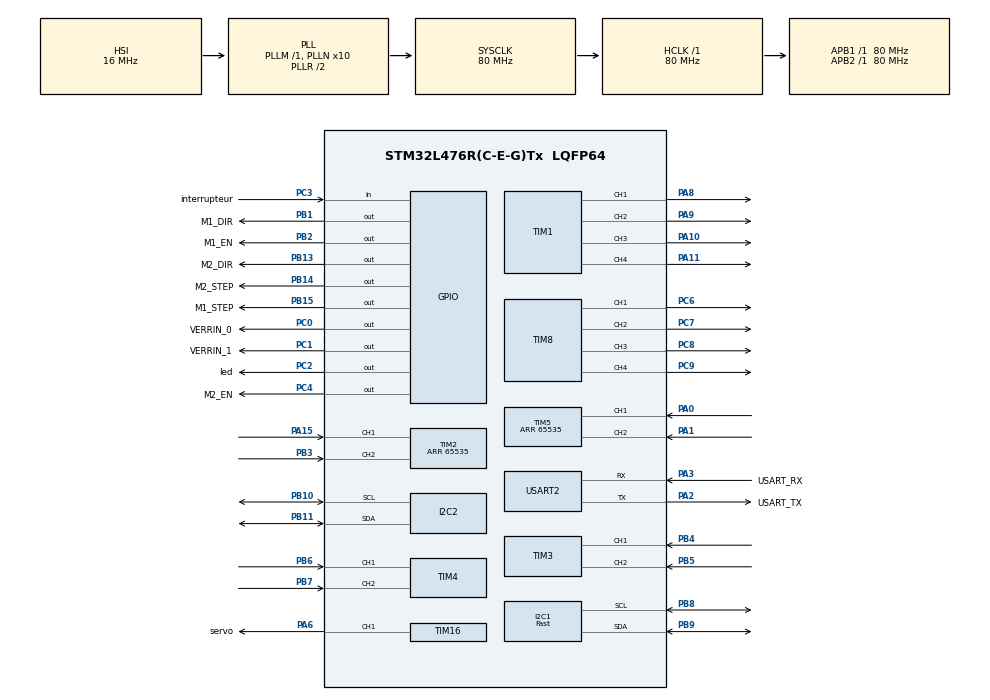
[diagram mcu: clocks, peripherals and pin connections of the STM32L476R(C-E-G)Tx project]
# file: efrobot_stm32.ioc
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I2C1.I2C_Speed_Mode=I2C_Fast
I2C1.Timing=0x00F12981
I2C2.Timing=0x10D19CE4
Mcu.Family=STM32L4
Mcu.Name=STM32L476R(C-E-G)Tx
Mcu.Package=LQFP64
NVIC.PriorityGroup=NVIC_PRIORITYGROUP_4
NVIC.TIM6_DAC_IRQn=true\:0\:0\:false\:false\:true\:true\:true\:true
NVIC.USART2_IRQn=true\:0\:0\:false\:false\:true\:true\:true\:true
PA0.Signal=S_TIM5_CH1
PA1.Signal=S_TIM5_CH2
PA10.GPIO_Speed=GPIO_SPEED_FREQ_VERY_HIGH
PA10.Signal=S_TIM1_CH3
PA11.GPIO_Speed=GPIO_SPEED_FREQ_VERY_HIGH
PA11.Signal=S_TIM1_CH4
PA13\ (JTMS-SWDIO).GPIO_Label=TMS
PA13\ (JTMS-SWDIO).Mode=Serial_Wire
PA13\ (JTMS-SWDIO).Signal=SYS_JTMS-SWDIO
PA14\ (JTCK-SWCLK).GPIO_Label=TCK
PA14\ (JTCK-SWCLK).Mode=Serial_Wire
PA14\ (JTCK-SWCLK).Signal=SYS_JTCK-SWCLK
PA15\ (JTDI).Signal=S_TIM2_CH1
PA2.GPIO_Label=USART_TX
PA2.GPIO_Mode=GPIO_MODE_AF_PP
PA2.GPIO_PuPd=GPIO_NOPULL
PA2.GPIO_Speed=GPIO_SPEED_FREQ_VERY_HIGH
PA2.Mode=Asynchronous
PA2.Signal=USART2_TX
PA3.GPIO_Label=USART_RX
PA3.GPIO_Mode=GPIO_MODE_AF_PP
PA3.GPIO_PuPd=GPIO_NOPULL
PA3.GPIO_Speed=GPIO_SPEED_FREQ_VERY_HIGH
PA3.Mode=Asynchronous
PA3.Signal=USART2_RX
PA6.GPIO_Label=servo
PA6.GPIO_Speed=GPIO_SPEED_FREQ_VERY_HIGH
PA6.Signal=S_TIM16_CH1
PA8.GPIO_Speed=GPIO_SPEED_FREQ_VERY_HIGH
PA8.Signal=S_TIM1_CH1
PA9.GPIO_Speed=GPIO_SPEED_FREQ_VERY_HIGH
PA9.Signal=S_TIM1_CH2
PB1.GPIO_Label=M1_DIR
PB1.GPIO_Speed=GPIO_SPEED_FREQ_LOW
PB1.Signal=GPIO_Output
PB10.Mode=I2C
PB10.Signal=I2C2_SCL
PB11.Mode=I2C
PB11.Signal=I2C2_SDA
PB13.GPIO_Label=M2_DIR
PB13.GPIO_Speed=GPIO_SPEED_FREQ_LOW
PB13.Signal=GPIO_Output
PB14.GPIO_Label=M2_STEP
PB14.GPIO_Speed=GPIO_SPEED_FREQ_VERY_HIGH
PB14.PinState=GPIO_PIN_SET
PB14.Signal=GPIO_Output
PB15.GPIO_Label=M1_STEP
PB15.GPIO_Speed=GPIO_SPEED_FREQ_VERY_HIGH
PB15.PinState=GPIO_PIN_SET
PB15.Signal=GPIO_Output
PB2.GPIO_Label=M1_EN
PB2.Signal=GPIO_Output
PB3\ (JTDO-TRACESWO).Signal=S_TIM2_CH2
PB4\ (NJTRST).Signal=S_TIM3_CH1
PB5.Signal=S_TIM3_CH2
PB6.Signal=S_TIM4_CH1
PB7.Signal=S_TIM4_CH2
PB8.Mode=I2C
PB8.Signal=I2C1_SCL
PB9.Mode=I2C
PB9.Signal=I2C1_SDA
PC0.GPIO_Label=VERRIN_0
PC0.Signal=GPIO_Output
PC1.GPIO_Label=VERRIN_1
PC1.Signal=GPIO_Output
PC14-OSC32_IN\ (PC14).Mode=LSE-External-Oscillator
PC14-OSC32_IN\ (PC14).Signal=RCC_OSC32_IN
PC15-OSC32_OUT\ (PC15).Mode=LSE-External-Oscillator
PC15-OSC32_OUT\ (PC15).Signal=RCC_OSC32_OUT
PC2.GPIO_Label=led
PC2.Signal=GPIO_Output
PC3.GPIO_Label=interrupteur
PC3.GPIO_PuPd=GPIO_PULLUP
PC3.Signal=GPIO_Input
PC4.GPIO_Label=M2_EN
PC4.Signal=GPIO_Output
PC6.GPIO_Speed=GPIO_SPEED_FREQ_VERY_HIGH
PC6.Signal=S_TIM8_CH1
PC7.GPIO_Speed=GPIO_SPEED_FREQ_VERY_HIGH
PC7.Signal=S_TIM8_CH2
PC8.GPIO_Speed=GPIO_SPEED_FREQ_VERY_HIGH
PC8.Signal=S_TIM8_CH3
PC9.GPIO_Speed=GPIO_SPEED_FREQ_VERY_HIGH
PC9.Signal=S_TIM8_CH4
PH0-OSC_IN\ (PH0).Signal=RCC_OSC_IN
PH1-OSC_OUT\ (PH1).Signal=RCC_OSC_OUT
ProjectManager.HeapSize=0x200
ProjectManager.StackSize=0x400
ProjectManager.TargetToolchain=STM32CubeIDE
RCC.ADCFreq_Value=64000000
RCC.AHBFreq_Value=80000000
RCC.APB1Freq_Value=80000000
RCC.APB1TimFreq_Value=80000000
RCC.APB2Freq_Value=80000000
RCC.APB2TimFreq_Value=80000000
RCC.CortexFreq_Value=80000000
RCC.HCLKFreq_Value=80000000
RCC.HSE_VALUE=8000000
RCC.HSI_VALUE=16000000
RCC.MSI_VALUE=4000000
RCC.PLLN=10
RCC.PLLSourceVirtual=RCC_PLLSOURCE_HSI
RCC.PREFETCH_ENABLE=1
RCC.SYSCLKFreq_VALUE=80000000
RCC.SYSCLKSource=RCC_SYSCLKSOURCE_PLLCLK
RCC.USBFreq_Value=64000000
RCC.VCOOutputFreq_Value=160000000
SH.S_TIM16_CH1.0=TIM16_CH1,PWM Generation1 CH1
SH.S_TIM1_CH1.0=TIM1_CH1,PWM Generation1 CH1
SH.S_TIM1_CH2.0=TIM1_CH2,PWM Generation2 CH2
SH.S_TIM1_CH3.0=TIM1_CH3,PWM Generation3 CH3
SH.S_TIM1_CH4.0=TIM1_CH4,PWM Generation4 CH4
SH.S_TIM2_CH1.0=TIM2_CH1,Encoder_Interface
SH.S_TIM2_CH2.0=TIM2_CH2,Encoder_Interface
SH.S_TIM3_CH1.0=TIM3_CH1,Encoder_Interface
SH.S_TIM3_CH2.0=TIM3_CH2,Encoder_Interface
SH.S_TIM4_CH1.0=TIM4_CH1,Encoder_Interface
SH.S_TIM4_CH2.0=TIM4_CH2,Encoder_Interface
SH.S_TIM5_CH1.0=TIM5_CH1,Encoder_Interface
SH.S_TIM5_CH2.0=TIM5_CH2,Encoder_Interface
SH.S_TIM8_CH1.0=TIM8_CH1,PWM Generation1 CH1
SH.S_TIM8_CH2.0=TIM8_CH2,PWM Generation2 CH2
SH.S_TIM8_CH3.0=TIM8_CH3,PWM Generation3 CH3
SH.S_TIM8_CH4.0=TIM8_CH4,PWM Generation4 CH4
TIM1.AutoReloadPreload=TIM_AUTORELOAD_PRELOAD_ENABLE
TIM1.Channel-PWM\ Generation1\ CH1=TIM_CHANNEL_1
TIM1.Channel-PWM\ Generation2\ CH2=TIM_CHANNEL_2
TIM1.Channel-PWM\ Generation3\ CH3=TIM_CHANNEL_3
TIM1.Channel-PWM\ Generation4\ CH4=TIM_CHANNEL_4
TIM16.AutoReloadPreload=TIM_AUTORELOAD_PRELOAD_ENABLE
TIM16.Channel=TIM_CHANNEL_1
TIM16.Period=19999
TIM16.Prescaler=79
TIM2.EncoderMode=TIM_ENCODERMODE_TI12
TIM2.Period=65535
TIM3.EncoderMode=TIM_ENCODERMODE_TI12
TIM4.EncoderMode=TIM_ENCODERMODE_TI12
TIM5.EncoderMode=TIM_ENCODERMODE_TI12
TIM5.Period=65535 
TIM6.Period=49
TIM6.Prescaler=79
TIM8.AutoReloadPreload=TIM_AUTORELOAD_PRELOAD_ENABLE
TIM8.Channel-PWM\ Generation1\ CH1=TIM_CHANNEL_1
TIM8.Channel-PWM\ Generation2\ CH2=TIM_CHANNEL_2
TIM8.Channel-PWM\ Generation3\ CH3=TIM_CHANNEL_3
TIM8.Channel-PWM\ Generation4\ CH4=TIM_CHANNEL_4
USART2.VirtualMode-Asynchronous=VM_ASYNC
VP_IWDG_VS_IWDG.Mode=IWDG_Activate
VP_TIM16_VS_ClockSourceINT.Mode=Enable_Timer
VP_TIM6_VS_ClockSourceINT.Mode=Enable_Timer
board=NUCLEO-L476RG

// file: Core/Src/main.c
/* USER CODE BEGIN Header */
/**
  ******************************************************************************
  * @file           : main.c
  * @brief          : Main program body
  ******************************************************************************
  * @attention
  *
  * Copyright (c) 2026 STMicroelectronics.
  * All rights reserved.
  *
  * This software is licensed under terms that can be found in the LICENSE file
  * in the root directory of this software component.
  * If no LICENSE file comes with this software, it is provided AS-IS.
  *
  ******************************************************************************
  */
/* USER CODE END Header */
#include "main.h"

/* USER CODE BEGIN Includes */

// Lib
#include <stdio.h>
#include <stdlib.h>
#include <math.h>
#include <string.h>

// Header
#include "motor.h"
#include "imu.h"
#include "pince.h"
#include "trajectory.h"

/* USER CODE END Includes */

I2C_HandleTypeDef hi2c1;
I2C_HandleTypeDef hi2c2;

IWDG_HandleTypeDef hiwdg;

TIM_HandleTypeDef htim1;
TIM_HandleTypeDef htim2;
TIM_HandleTypeDef htim3;
TIM_HandleTypeDef htim4;
TIM_HandleTypeDef htim5;
TIM_HandleTypeDef htim6;
TIM_HandleTypeDef htim8;
TIM_HandleTypeDef htim16;

UART_HandleTypeDef huart2;

/* USER CODE BEGIN PV */
#define UART_BUF_SIZE 64
#define POS_INTERVAL 500  // ms

uint8_t rx_byte;
volatile uint8_t commande_recue = 0;
volatile uint8_t stop_mouvement = 0;
int32_t encoder1, encoder2, encoder3, encoder4;

// coms
static char uart_buf[UART_BUF_SIZE];
static uint8_t uart_idx = 0;
uint32_t lastPosUpdate = 0;

/* USER CODE END PV */

void SystemClock_Config(void);
static void MX_GPIO_Init(void);
static void MX_I2C1_Init(void);
static void MX_TIM1_Init(void);
static void MX_TIM2_Init(void);
static void MX_TIM3_Init(void);
static void MX_TIM4_Init(void);
static void MX_TIM5_Init(void);
static void MX_TIM8_Init(void);
static void MX_TIM16_Init(void);
static void MX_USART2_UART_Init(void);
static void MX_IWDG_Init(void);
static void MX_I2C2_Init(void);
static void MX_TIM6_Init(void);

/* USER CODE BEGIN 0 */

void safe_delay(uint32_t ms) {
    uint32_t start = HAL_GetTick();
    while ((HAL_GetTick() - start) < ms) {
        HAL_IWDG_Refresh(&hiwdg);
        HAL_Delay(10);
    }
}
// Team 0 --> Jaune
// Team 1 --> Bleu
void Position_robot_init(Robot_Pos *p, int team) {
    char buf[64];
    int len = snprintf(buf, sizeof(buf), "[DBG] Position_robot_init team=%d\r\n", team);
    HAL_UART_Transmit(&huart2, (uint8_t*)buf, len, 10);  // ← trace qui appelle ça
    imu_reset(&hi2c1);
    safe_delay(650);
    imu_init(&hi2c1, &hiwdg);
    safe_delay(100);
    if (team == 0) {
        p->x = 16;
        p->y = 184.0;
        p->angle = 0;
    } else if (team == 1) {
        p->x = 284;
        p->y = 184;
        p->angle = 0;
    }
}

void set_position(float new_x, float new_y, float new_angle) {
	robot_pos.x = new_x;
	robot_pos.y = new_y;
	robot_pos.angle = new_angle;
}

// ---------------------------------------------------
// Coms with raspy

void envoyer_position(void) {
    char buf[64];
    int16_t heading = imu_get_heading(&hi2c1);
    int len = snprintf(buf, sizeof(buf), "POS %.3f %.3f %d\r\n",
                       robot_pos.x, robot_pos.y, heading);
    HAL_UART_Transmit(&huart2, (uint8_t*)buf, len, 10);
}

void mouvement_termine(void) {
    char buf[64];
    int len = snprintf(buf, sizeof(buf), "Mouv Ok\r\n");
    HAL_UART_Transmit(&huart2, (uint8_t*)buf, len, 10);
}

void traiter_commande(char *cmd) {
    // Trim '\r' éventuel
	stop_mouvement = 0;
    int len = strlen(cmd);
    while (len > 0 && (cmd[len-1] == '\r' || cmd[len-1] == '\n' || cmd[len-1] == ' '))
        cmd[--len] = '\0';

    char log[80];
    int l = snprintf(log, sizeof(log), "[STM32] CMD recue: [%s]\r\n", cmd);
    HAL_UART_Transmit(&huart2, (uint8_t*)log, l, 10);

    float param1 = 0, param2 = 0;
    int recup = 0;

    if (strncmp(cmd, "AC ", 3) == 0) {
        sscanf(cmd + 3, "%f %f", &param1, &param2);
        aller_a_coord(param1, param2);
        mouvement_termine();

    } else if (strncmp(cmd, "TVA ", 4) == 0) {
        param1 = atoff(cmd + 4);
        tourner_vers_angle(param1);
        mouvement_termine();

    //------------------------------------------------
    // Team option
    } else if (strncmp(cmd, "TJ", 2) == 0) {
        Position_robot_init(&robot_pos, 0);

    } else if (strncmp(cmd, "TB", 2) == 0) {
        Position_robot_init(&robot_pos, 1);

	//-----------------------------------------------------
	// Pince Option
    } else if (strncmp(cmd, "Pince_RecupererEtStocker", 24) == 0) {
		sscanf(cmd + 24, "%d", &recup);
		Pince_RecupererEtStocker(recup);
		mouvement_termine();

    } else if (strncmp(cmd, "Pince Navigation", 16) == 0) {
    	Pince_GoToNav(); // a remetre pour le mode nav
    	mouvement_termine();

    } else if (strncmp(cmd, "Pince Curseur", 13) == 0) {
    	Pince_Pos_Curseur(); // thermomètre de samuel
    	mouvement_termine();

    } else if (strncmp(cmd, "RAH ", 4) == 0) {
        param1 = atoff(cmd + 4);
        rotation_gauche(param1);
        mouvement_termine();

    } else if (strncmp(cmd, "RH ", 3) == 0) {
        param1 = atoff(cmd + 3);
        rotation_droite(param1);
        mouvement_termine();

    } else if (strncmp(cmd, "DG ", 3) == 0) {
        param1 = atoff(cmd + 3);
        param1 = param1 / 100.0;
        diagonale_gauche(param1);
        mouvement_termine();

    } else if (strncmp(cmd, "DD ", 3) == 0) {
        param1 = atoff(cmd + 3);
        param1 = param1 / 100.0;
        diagonale_droite(param1);
        mouvement_termine();

    } else if (strncmp(cmd, "A ", 2) == 0) {
        param1 = atoff(cmd + 2);
        param1 = param1 / 100.0;
        avancer(param1);
        mouvement_termine();

    } else if (strncmp(cmd, "R ", 2) == 0) {
        param1 = atoff(cmd + 2);
        param1 = param1 / 100.0;
        reculer(param1);
        mouvement_termine();

    } else if (strncmp(cmd, "D ", 2) == 0) {
        param1 = atoff(cmd + 2);
        param1 = param1 / 100.0;
        droite(param1);
        mouvement_termine();

    } else if (strncmp(cmd, "G ", 2) == 0) {
        param1 = atoff(cmd + 2);
        param1 = param1 / 100.0;
        gauche(param1);
        mouvement_termine();
    }

    envoyer_position();
}

void HAL_UART_RxCpltCallback(UART_HandleTypeDef *huart)
{
    if (huart->Instance == USART2)
    {
        if (rx_byte == '\n')
        {
            uart_buf[uart_idx] = '\0';
            uart_idx = 0;

            // STOP prioritaire — traité directement dans l'interruption
            if (strncmp((char*)uart_buf, "STOP", 4) == 0) {
                stop_mouvement = 1;
                stop_motors();
            } else {
                commande_recue = 1;
            }
        }
        else if (rx_byte != '\r' && uart_idx < UART_BUF_SIZE - 1)
        {
            uart_buf[uart_idx++] = (char)rx_byte;
        }

        HAL_UART_Receive_IT(&huart2, &rx_byte, 1);
    }
}
void uart_poll(void)
{
    if (__HAL_UART_GET_FLAG(&huart2, UART_FLAG_ORE))
    {
        __HAL_UART_CLEAR_OREFLAG(&huart2);
    }

    if (commande_recue)
    {
        traiter_commande(uart_buf);

        uart_idx = 0;
        commande_recue = 0;
    }
}

/* USER CODE END 0 */

int main(void)
{

  /* MCU Configuration--------------------------------------------------------*/

  /* Reset of all peripherals, Initializes the Flash interface and the Systick. */
  HAL_Init();

  /* Configure the system clock */
  SystemClock_Config();

  /* Initialize all configured peripherals */
  MX_GPIO_Init();
  MX_I2C1_Init();
  MX_TIM1_Init();
  MX_TIM2_Init();
  MX_TIM3_Init();
  MX_TIM4_Init();
  MX_TIM5_Init();
  MX_TIM8_Init();
  MX_TIM16_Init();
  MX_USART2_UART_Init();
  MX_IWDG_Init();
  MX_I2C2_Init();
  MX_TIM6_Init();
  /* USER CODE BEGIN 2 */

  //-------------------------------------------------------------
  // Timer 1
  HAL_TIM_PWM_Start(&htim1, TIM_CHANNEL_1); // motor 1 In1
  HAL_TIM_PWM_Start(&htim1, TIM_CHANNEL_2); // motor 1 In2
  __HAL_TIM_MOE_ENABLE(&htim1);

  HAL_TIM_PWM_Start(&htim1, TIM_CHANNEL_3); // motor 2 In1
  HAL_TIM_PWM_Start(&htim1, TIM_CHANNEL_4); // motor 2 In2
  __HAL_TIM_MOE_ENABLE(&htim1);

  // Timer 2 & 3 & 4 & 5 --> encodeur
  HAL_TIM_Encoder_Start(&htim2, TIM_CHANNEL_ALL);
  HAL_TIM_Encoder_Start(&htim3, TIM_CHANNEL_ALL);
  HAL_TIM_Encoder_Start(&htim4, TIM_CHANNEL_ALL);
  HAL_TIM_Encoder_Start(&htim5, TIM_CHANNEL_ALL);

  // Timer 8
  HAL_TIM_PWM_Start(&htim8, TIM_CHANNEL_1); // motor 3 In1
  HAL_TIM_PWM_Start(&htim8, TIM_CHANNEL_2); // motor 3 In2
  __HAL_TIM_MOE_ENABLE(&htim8);

  HAL_TIM_PWM_Start(&htim8, TIM_CHANNEL_3); // motor 4 In1
  HAL_TIM_PWM_Start(&htim8, TIM_CHANNEL_4); // motor 4 In2
  __HAL_TIM_MOE_ENABLE(&htim8);

  // Timer 16 (Servo)
  //HAL_TIM_PWM_Start(&htim16, TIM_CHANNEL_1);

  //-------------------------------------------------------------

  Pince_Init();
  HAL_TIM_Base_Start_IT(&htim6);

  //-------------------------------------------------------------
  // PIDS init

  PID_Vitesse_Init(&pid1, 60000.0, 37000.0, 0.0); // ok
  PID_Vitesse_Init(&pid2, 60000.0, 28000.0, 0.0); // ok
  PID_Vitesse_Init(&pid3, 60000.0, 25000.0, 0.0); // ok
  PID_Vitesse_Init(&pid4, 57000.0, 25000.0, 0.0); // ok

  //test_PID_5s(2.0);

  //-------------------------------------------------------------
  // Robot Position Init
  Position_robot_init(&robot_pos, 0);

  //-------------------------------------------------------------
  // Uart Init
  HAL_UART_Receive_IT(&huart2, &rx_byte, 1);

  if (__HAL_RCC_GET_FLAG(RCC_FLAG_IWDGRST)) {
      __HAL_RCC_CLEAR_RESET_FLAGS();
      char msg[] = "[DBG] REBOOT PAR WATCHDOG\r\n";
      HAL_UART_Transmit(&huart2, (uint8_t*)msg, sizeof(msg)-1, 100);
  }

  //-------------------------------------------------------------
  // IMU init

  // Debug IMU addr
  char buf[128];
  for (uint8_t addr = 1; addr < 128; addr++) {
	  HAL_IWDG_Refresh(&hiwdg);
      if (HAL_I2C_IsDeviceReady(&hi2c1, addr << 1, 2, 50) == HAL_OK) {
    	  int len = snprintf(buf, sizeof(buf),
    			  "Device trouve a 0x%02X\r\n", addr);
    	  HAL_UART_Transmit(&huart2, (uint8_t*)buf, len, HAL_MAX_DELAY);
      }
  }

  // Init imu
  imu_init(&hi2c1, &hiwdg);

  //-------------------------------------------------------------
  // Pince
  //Pince_GoToNav();

  // Test Pince
  //Servo_SetAngle(5);
  //safe_delay(2000);
  //Servo_SetAngle(100);

  //safe_delay(1000);
  //safe_delay(1000);
  //safe_delay(1000);

  /*
   safe_delay(1000);
  reculer(1);

  safe_delay(1000);
  droite(1);

  safe_delay(1000);
  gauche(1);*/

  //set_motor_pwm(&htim1, TIM_CHANNEL_1, TIM_CHANNEL_2, 50000); --> avance
  //set_motor_pwm(&htim1, TIM_CHANNEL_1, TIM_CHANNEL_2, -50000); --> ne bouge pas
  //set_motor_pwm(&htim1, TIM_CHANNEL_2, TIM_CHANNEL_1, 50000); --> ne bouge pas
  //set_motor_pwm(&htim1, TIM_CHANNEL_2, TIM_CHANNEL_1, -50000); --> recule

  /*set_motor_pwm(&htim1, TIM_CHANNEL_1, TIM_CHANNEL_2, 50000);
  set_motor_pwm(&htim1, TIM_CHANNEL_3, TIM_CHANNEL_4, 50000);
  set_motor_pwm(&htim8, TIM_CHANNEL_1, TIM_CHANNEL_2, 50000);
  set_motor_pwm(&htim8, TIM_CHANNEL_3, TIM_CHANNEL_4, 50000);

  safe_delay(5000);
  stop_motors();

  set_motor_pwm(&htim1, TIM_CHANNEL_1, TIM_CHANNEL_2, -50000);
  set_motor_pwm(&htim1, TIM_CHANNEL_3, TIM_CHANNEL_4, -50000);
  set_motor_pwm(&htim8, TIM_CHANNEL_1, TIM_CHANNEL_2, -50000);
  set_motor_pwm(&htim8, TIM_CHANNEL_3, TIM_CHANNEL_4, -50000);*/

  //safe_delay(1000);
  //reculer(1);
  //safe_delay(1000);

  //reculer(0.3);

  //envoyer_position();
  //safe_delay(1000);

  safe_delay(1000);

  safe_delay(1000);
  safe_delay(1000);
  /*Trajectory traj;
  traj_init(&traj);

  traj_avancer(&traj, 0.50f);
  traj_gauche(&traj,  0.30f);
  traj_avancer(&traj, 0.20f);
  traj_rotation_gauche(&traj, 90.0f);

  traj_execute(&traj);*/

  //lacher_caisses();

  /* USER CODE END 2 */

  /* Infinite loop */
  /* USER CODE BEGIN WHILE */
  while (1)
  {
	    HAL_IWDG_Refresh(&hiwdg);

	    uart_poll();

	    uint32_t now = HAL_GetTick();
	    if (now - lastPosUpdate >= POS_INTERVAL) {
	        envoyer_position();
	        //envoyer_position_imu();
	        lastPosUpdate = now;
	    }

	    HAL_Delay(10);

    /* USER CODE END WHILE */

  }
}

void SystemClock_Config(void)
{
  RCC_OscInitTypeDef RCC_OscInitStruct = {0};
  RCC_ClkInitTypeDef RCC_ClkInitStruct = {0};

  /** Configure the main internal regulator output voltage
  */
  if (HAL_PWREx_ControlVoltageScaling(PWR_REGULATOR_VOLTAGE_SCALE1) != HAL_OK)
  {
    Error_Handler();
  }

  /** Initializes the RCC Oscillators according to the specified parameters
  * in the RCC_OscInitTypeDef structure.
  */
  RCC_OscInitStruct.OscillatorType = RCC_OSCILLATORTYPE_HSI|RCC_OSCILLATORTYPE_LSI;
  RCC_OscInitStruct.HSIState = RCC_HSI_ON;
  RCC_OscInitStruct.HSICalibrationValue = RCC_HSICALIBRATION_DEFAULT;
  RCC_OscInitStruct.LSIState = RCC_LSI_ON;
  RCC_OscInitStruct.PLL.PLLState = RCC_PLL_ON;
  RCC_OscInitStruct.PLL.PLLSource = RCC_PLLSOURCE_HSI;
  RCC_OscInitStruct.PLL.PLLM = 1;
  RCC_OscInitStruct.PLL.PLLN = 10;
  RCC_OscInitStruct.PLL.PLLP = RCC_PLLP_DIV7;
  RCC_OscInitStruct.PLL.PLLQ = RCC_PLLQ_DIV2;
  RCC_OscInitStruct.PLL.PLLR = RCC_PLLR_DIV2;
  if (HAL_RCC_OscConfig(&RCC_OscInitStruct) != HAL_OK)
  {
    Error_Handler();
  }

  /** Initializes the CPU, AHB and APB buses clocks
  */
  RCC_ClkInitStruct.ClockType = RCC_CLOCKTYPE_HCLK|RCC_CLOCKTYPE_SYSCLK
                              |RCC_CLOCKTYPE_PCLK1|RCC_CLOCKTYPE_PCLK2;
  RCC_ClkInitStruct.SYSCLKSource = RCC_SYSCLKSOURCE_PLLCLK;
  RCC_ClkInitStruct.AHBCLKDivider = RCC_SYSCLK_DIV1;
  RCC_ClkInitStruct.APB1CLKDivider = RCC_HCLK_DIV1;
  RCC_ClkInitStruct.APB2CLKDivider = RCC_HCLK_DIV1;

  if (HAL_RCC_ClockConfig(&RCC_ClkInitStruct, FLASH_LATENCY_4) != HAL_OK)
  {
    Error_Handler();
  }
}

static void MX_I2C1_Init(void)
{

  hi2c1.Instance = I2C1;
  hi2c1.Init.Timing = 0x00F12981;
  hi2c1.Init.OwnAddress1 = 0;
  hi2c1.Init.AddressingMode = I2C_ADDRESSINGMODE_7BIT;
  hi2c1.Init.DualAddressMode = I2C_DUALADDRESS_DISABLE;
  hi2c1.Init.OwnAddress2 = 0;
  hi2c1.Init.OwnAddress2Masks = I2C_OA2_NOMASK;
  hi2c1.Init.GeneralCallMode = I2C_GENERALCALL_DISABLE;
  hi2c1.Init.NoStretchMode = I2C_NOSTRETCH_DISABLE;
  if (HAL_I2C_Init(&hi2c1) != HAL_OK)
  {
    Error_Handler();
  }

  /** Configure Analogue filter
  */
  if (HAL_I2CEx_ConfigAnalogFilter(&hi2c1, I2C_ANALOGFILTER_ENABLE) != HAL_OK)
  {
    Error_Handler();
  }

  /** Configure Digital filter
  */
  if (HAL_I2CEx_ConfigDigitalFilter(&hi2c1, 0) != HAL_OK)
  {
    Error_Handler();
  }

}

static void MX_I2C2_Init(void)
{

  hi2c2.Instance = I2C2;
  hi2c2.Init.Timing = 0x10D19CE4;
  hi2c2.Init.OwnAddress1 = 0;
  hi2c2.Init.AddressingMode = I2C_ADDRESSINGMODE_7BIT;
  hi2c2.Init.DualAddressMode = I2C_DUALADDRESS_DISABLE;
  hi2c2.Init.OwnAddress2 = 0;
  hi2c2.Init.OwnAddress2Masks = I2C_OA2_NOMASK;
  hi2c2.Init.GeneralCallMode = I2C_GENERALCALL_DISABLE;
  hi2c2.Init.NoStretchMode = I2C_NOSTRETCH_DISABLE;
  if (HAL_I2C_Init(&hi2c2) != HAL_OK)
  {
    Error_Handler();
  }

  /** Configure Analogue filter
  */
  if (HAL_I2CEx_ConfigAnalogFilter(&hi2c2, I2C_ANALOGFILTER_ENABLE) != HAL_OK)
  {
    Error_Handler();
  }

  /** Configure Digital filter
  */
  if (HAL_I2CEx_ConfigDigitalFilter(&hi2c2, 0) != HAL_OK)
  {
    Error_Handler();
  }

}

static void MX_IWDG_Init(void)
{

  hiwdg.Instance = IWDG;
  hiwdg.Init.Prescaler = IWDG_PRESCALER_4;
  hiwdg.Init.Window = 4095;
  hiwdg.Init.Reload = 4095;
  if (HAL_IWDG_Init(&hiwdg) != HAL_OK)
  {
    Error_Handler();
  }

}

static void MX_TIM1_Init(void)
{

  TIM_MasterConfigTypeDef sMasterConfig = {0};
  TIM_OC_InitTypeDef sConfigOC = {0};
  TIM_BreakDeadTimeConfigTypeDef sBreakDeadTimeConfig = {0};

  htim1.Instance = TIM1;
  htim1.Init.Prescaler = 0;
  htim1.Init.CounterMode = TIM_COUNTERMODE_UP;
  htim1.Init.Period = 65535;
  htim1.Init.ClockDivision = TIM_CLOCKDIVISION_DIV1;
  htim1.Init.RepetitionCounter = 0;
  htim1.Init.AutoReloadPreload = TIM_AUTORELOAD_PRELOAD_ENABLE;
  if (HAL_TIM_PWM_Init(&htim1) != HAL_OK)
  {
    Error_Handler();
  }
  sMasterConfig.MasterOutputTrigger = TIM_TRGO_RESET;
  sMasterConfig.MasterOutputTrigger2 = TIM_TRGO2_RESET;
  sMasterConfig.MasterSlaveMode = TIM_MASTERSLAVEMODE_DISABLE;
  if (HAL_TIMEx_MasterConfigSynchronization(&htim1, &sMasterConfig) != HAL_OK)
  {
    Error_Handler();
  }
  sConfigOC.OCMode = TIM_OCMODE_PWM1;
  sConfigOC.Pulse = 0;
  sConfigOC.OCPolarity = TIM_OCPOLARITY_HIGH;
  sConfigOC.OCNPolarity = TIM_OCNPOLARITY_HIGH;
  sConfigOC.OCFastMode = TIM_OCFAST_DISABLE;
  sConfigOC.OCIdleState = TIM_OCIDLESTATE_RESET;
  sConfigOC.OCNIdleState = TIM_OCNIDLESTATE_RESET;
  if (HAL_TIM_PWM_ConfigChannel(&htim1, &sConfigOC, TIM_CHANNEL_1) != HAL_OK)
  {
    Error_Handler();
  }
  if (HAL_TIM_PWM_ConfigChannel(&htim1, &sConfigOC, TIM_CHANNEL_2) != HAL_OK)
  {
    Error_Handler();
  }
  if (HAL_TIM_PWM_ConfigChannel(&htim1, &sConfigOC, TIM_CHANNEL_3) != HAL_OK)
  {
    Error_Handler();
  }
  if (HAL_TIM_PWM_ConfigChannel(&htim1, &sConfigOC, TIM_CHANNEL_4) != HAL_OK)
  {
    Error_Handler();
  }
  sBreakDeadTimeConfig.OffStateRunMode = TIM_OSSR_DISABLE;
  sBreakDeadTimeConfig.OffStateIDLEMode = TIM_OSSI_DISABLE;
  sBreakDeadTimeConfig.LockLevel = TIM_LOCKLEVEL_OFF;
  sBreakDeadTimeConfig.DeadTime = 0;
  sBreakDeadTimeConfig.BreakState = TIM_BREAK_DISABLE;
  sBreakDeadTimeConfig.BreakPolarity = TIM_BREAKPOLARITY_HIGH;
  sBreakDeadTimeConfig.BreakFilter = 0;
  sBreakDeadTimeConfig.Break2State = TIM_BREAK2_DISABLE;
  sBreakDeadTimeConfig.Break2Polarity = TIM_BREAK2POLARITY_HIGH;
  sBreakDeadTimeConfig.Break2Filter = 0;
  sBreakDeadTimeConfig.AutomaticOutput = TIM_AUTOMATICOUTPUT_DISABLE;
  if (HAL_TIMEx_ConfigBreakDeadTime(&htim1, &sBreakDeadTimeConfig) != HAL_OK)
  {
    Error_Handler();
  }
  HAL_TIM_MspPostInit(&htim1);

}

static void MX_TIM2_Init(void)
{

  TIM_Encoder_InitTypeDef sConfig = {0};
  TIM_MasterConfigTypeDef sMasterConfig = {0};

  htim2.Instance = TIM2;
  htim2.Init.Prescaler = 0;
  htim2.Init.CounterMode = TIM_COUNTERMODE_UP;
  htim2.Init.Period = 65535;
  htim2.Init.ClockDivision = TIM_CLOCKDIVISION_DIV1;
  htim2.Init.AutoReloadPreload = TIM_AUTORELOAD_PRELOAD_DISABLE;
  sConfig.EncoderMode = TIM_ENCODERMODE_TI12;
  sConfig.IC1Polarity = TIM_ICPOLARITY_RISING;
  sConfig.IC1Selection = TIM_ICSELECTION_DIRECTTI;
  sConfig.IC1Prescaler = TIM_ICPSC_DIV1;
  sConfig.IC1Filter = 0;
  sConfig.IC2Polarity = TIM_ICPOLARITY_RISING;
  sConfig.IC2Selection = TIM_ICSELECTION_DIRECTTI;
  sConfig.IC2Prescaler = TIM_ICPSC_DIV1;
  sConfig.IC2Filter = 0;
  if (HAL_TIM_Encoder_Init(&htim2, &sConfig) != HAL_OK)
  {
    Error_Handler();
  }
  sMasterConfig.MasterOutputTrigger = TIM_TRGO_RESET;
  sMasterConfig.MasterSlaveMode = TIM_MASTERSLAVEMODE_DISABLE;
  if (HAL_TIMEx_MasterConfigSynchronization(&htim2, &sMasterConfig) != HAL_OK)
  {
    Error_Handler();
  }

}

static void MX_TIM3_Init(void)
{

  TIM_Encoder_InitTypeDef sConfig = {0};
  TIM_MasterConfigTypeDef sMasterConfig = {0};

  htim3.Instance = TIM3;
  htim3.Init.Prescaler = 0;
  htim3.Init.CounterMode = TIM_COUNTERMODE_UP;
  htim3.Init.Period = 65535;
  htim3.Init.ClockDivision = TIM_CLOCKDIVISION_DIV1;
  htim3.Init.AutoReloadPreload = TIM_AUTORELOAD_PRELOAD_DISABLE;
  sConfig.EncoderMode = TIM_ENCODERMODE_TI12;
  sConfig.IC1Polarity = TIM_ICPOLARITY_RISING;
  sConfig.IC1Selection = TIM_ICSELECTION_DIRECTTI;
  sConfig.IC1Prescaler = TIM_ICPSC_DIV1;
  sConfig.IC1Filter = 0;
  sConfig.IC2Polarity = TIM_ICPOLARITY_RISING;
  sConfig.IC2Selection = TIM_ICSELECTION_DIRECTTI;
  sConfig.IC2Prescaler = TIM_ICPSC_DIV1;
  sConfig.IC2Filter = 0;
  if (HAL_TIM_Encoder_Init(&htim3, &sConfig) != HAL_OK)
  {
    Error_Handler();
  }
  sMasterConfig.MasterOutputTrigger = TIM_TRGO_RESET;
  sMasterConfig.MasterSlaveMode = TIM_MASTERSLAVEMODE_DISABLE;
  if (HAL_TIMEx_MasterConfigSynchronization(&htim3, &sMasterConfig) != HAL_OK)
  {
    Error_Handler();
  }

}

static void MX_TIM4_Init(void)
{

  TIM_Encoder_InitTypeDef sConfig = {0};
  TIM_MasterConfigTypeDef sMasterConfig = {0};

  htim4.Instance = TIM4;
  htim4.Init.Prescaler = 0;
  htim4.Init.CounterMode = TIM_COUNTERMODE_UP;
  htim4.Init.Period = 65535;
  htim4.Init.ClockDivision = TIM_CLOCKDIVISION_DIV1;
  htim4.Init.AutoReloadPreload = TIM_AUTORELOAD_PRELOAD_DISABLE;
  sConfig.EncoderMode = TIM_ENCODERMODE_TI12;
  sConfig.IC1Polarity = TIM_ICPOLARITY_RISING;
  sConfig.IC1Selection = TIM_ICSELECTION_DIRECTTI;
  sConfig.IC1Prescaler = TIM_ICPSC_DIV1;
  sConfig.IC1Filter = 0;
  sConfig.IC2Polarity = TIM_ICPOLARITY_RISING;
  sConfig.IC2Selection = TIM_ICSELECTION_DIRECTTI;
  sConfig.IC2Prescaler = TIM_ICPSC_DIV1;
  sConfig.IC2Filter = 0;
  if (HAL_TIM_Encoder_Init(&htim4, &sConfig) != HAL_OK)
  {
    Error_Handler();
  }
  sMasterConfig.MasterOutputTrigger = TIM_TRGO_RESET;
  sMasterConfig.MasterSlaveMode = TIM_MASTERSLAVEMODE_DISABLE;
  if (HAL_TIMEx_MasterConfigSynchronization(&htim4, &sMasterConfig) != HAL_OK)
  {
    Error_Handler();
  }

}

static void MX_TIM5_Init(void)
{

  TIM_Encoder_InitTypeDef sConfig = {0};
  TIM_MasterConfigTypeDef sMasterConfig = {0};

  htim5.Instance = TIM5;
  htim5.Init.Prescaler = 0;
  htim5.Init.CounterMode = TIM_COUNTERMODE_UP;
  htim5.Init.Period = 65535 ;
  htim5.Init.ClockDivision = TIM_CLOCKDIVISION_DIV1;
  htim5.Init.AutoReloadPreload = TIM_AUTORELOAD_PRELOAD_DISABLE;
  sConfig.EncoderMode = TIM_ENCODERMODE_TI12;
  sConfig.IC1Polarity = TIM_ICPOLARITY_RISING;
  sConfig.IC1Selection = TIM_ICSELECTION_DIRECTTI;
  sConfig.IC1Prescaler = TIM_ICPSC_DIV1;
  sConfig.IC1Filter = 0;
  sConfig.IC2Polarity = TIM_ICPOLARITY_RISING;
  sConfig.IC2Selection = TIM_ICSELECTION_DIRECTTI;
  sConfig.IC2Prescaler = TIM_ICPSC_DIV1;
  sConfig.IC2Filter = 0;
  if (HAL_TIM_Encoder_Init(&htim5, &sConfig) != HAL_OK)
  {
    Error_Handler();
  }
  sMasterConfig.MasterOutputTrigger = TIM_TRGO_RESET;
  sMasterConfig.MasterSlaveMode = TIM_MASTERSLAVEMODE_DISABLE;
  if (HAL_TIMEx_MasterConfigSynchronization(&htim5, &sMasterConfig) != HAL_OK)
  {
    Error_Handler();
  }

}

static void MX_TIM6_Init(void)
{

  TIM_MasterConfigTypeDef sMasterConfig = {0};

  htim6.Instance = TIM6;
  htim6.Init.Prescaler = 79;
  htim6.Init.CounterMode = TIM_COUNTERMODE_UP;
  htim6.Init.Period = 49;
  htim6.Init.AutoReloadPreload = TIM_AUTORELOAD_PRELOAD_DISABLE;
  if (HAL_TIM_Base_Init(&htim6) != HAL_OK)
  {
    Error_Handler();
  }
  sMasterConfig.MasterOutputTrigger = TIM_TRGO_RESET;
  sMasterConfig.MasterSlaveMode = TIM_MASTERSLAVEMODE_DISABLE;
  if (HAL_TIMEx_MasterConfigSynchronization(&htim6, &sMasterConfig) != HAL_OK)
  {
    Error_Handler();
  }

}

static void MX_TIM8_Init(void)
{

  TIM_MasterConfigTypeDef sMasterConfig = {0};
  TIM_OC_InitTypeDef sConfigOC = {0};
  TIM_BreakDeadTimeConfigTypeDef sBreakDeadTimeConfig = {0};

  htim8.Instance = TIM8;
  htim8.Init.Prescaler = 0;
  htim8.Init.CounterMode = TIM_COUNTERMODE_UP;
  htim8.Init.Period = 65535;
  htim8.Init.ClockDivision = TIM_CLOCKDIVISION_DIV1;
  htim8.Init.RepetitionCounter = 0;
  htim8.Init.AutoReloadPreload = TIM_AUTORELOAD_PRELOAD_ENABLE;
  if (HAL_TIM_PWM_Init(&htim8) != HAL_OK)
  {
    Error_Handler();
  }
  sMasterConfig.MasterOutputTrigger = TIM_TRGO_RESET;
  sMasterConfig.MasterOutputTrigger2 = TIM_TRGO2_RESET;
  sMasterConfig.MasterSlaveMode = TIM_MASTERSLAVEMODE_DISABLE;
  if (HAL_TIMEx_MasterConfigSynchronization(&htim8, &sMasterConfig) != HAL_OK)
  {
    Error_Handler();
  }
  sConfigOC.OCMode = TIM_OCMODE_PWM1;
  sConfigOC.Pulse = 0;
  sConfigOC.OCPolarity = TIM_OCPOLARITY_HIGH;
  sConfigOC.OCNPolarity = TIM_OCNPOLARITY_HIGH;
  sConfigOC.OCFastMode = TIM_OCFAST_DISABLE;
  sConfigOC.OCIdleState = TIM_OCIDLESTATE_RESET;
  sConfigOC.OCNIdleState = TIM_OCNIDLESTATE_RESET;
  if (HAL_TIM_PWM_ConfigChannel(&htim8, &sConfigOC, TIM_CHANNEL_1) != HAL_OK)
  {
    Error_Handler();
  }
  if (HAL_TIM_PWM_ConfigChannel(&htim8, &sConfigOC, TIM_CHANNEL_2) != HAL_OK)
  {
    Error_Handler();
  }
  if (HAL_TIM_PWM_ConfigChannel(&htim8, &sConfigOC, TIM_CHANNEL_3) != HAL_OK)
  {
    Error_Handler();
  }
  if (HAL_TIM_PWM_ConfigChannel(&htim8, &sConfigOC, TIM_CHANNEL_4) != HAL_OK)
  {
    Error_Handler();
  }
  sBreakDeadTimeConfig.OffStateRunMode = TIM_OSSR_DISABLE;
  sBreakDeadTimeConfig.OffStateIDLEMode = TIM_OSSI_DISABLE;
  sBreakDeadTimeConfig.LockLevel = TIM_LOCKLEVEL_OFF;
  sBreakDeadTimeConfig.DeadTime = 0;
  sBreakDeadTimeConfig.BreakState = TIM_BREAK_DISABLE;
  sBreakDeadTimeConfig.BreakPolarity = TIM_BREAKPOLARITY_HIGH;
  sBreakDeadTimeConfig.BreakFilter = 0;
  sBreakDeadTimeConfig.Break2State = TIM_BREAK2_DISABLE;
  sBreakDeadTimeConfig.Break2Polarity = TIM_BREAK2POLARITY_HIGH;
  sBreakDeadTimeConfig.Break2Filter = 0;
  sBreakDeadTimeConfig.AutomaticOutput = TIM_AUTOMATICOUTPUT_DISABLE;
  if (HAL_TIMEx_ConfigBreakDeadTime(&htim8, &sBreakDeadTimeConfig) != HAL_OK)
  {
    Error_Handler();
  }
  HAL_TIM_MspPostInit(&htim8);

}

static void MX_TIM16_Init(void)
{

  TIM_OC_InitTypeDef sConfigOC = {0};
  TIM_BreakDeadTimeConfigTypeDef sBreakDeadTimeConfig = {0};

  htim16.Instance = TIM16;
  htim16.Init.Prescaler = 79;
  htim16.Init.CounterMode = TIM_COUNTERMODE_UP;
  htim16.Init.Period = 19999;
  htim16.Init.ClockDivision = TIM_CLOCKDIVISION_DIV1;
  htim16.Init.RepetitionCounter = 0;
  htim16.Init.AutoReloadPreload = TIM_AUTORELOAD_PRELOAD_ENABLE;
  if (HAL_TIM_Base_Init(&htim16) != HAL_OK)
  {
    Error_Handler();
  }
  if (HAL_TIM_PWM_Init(&htim16) != HAL_OK)
  {
    Error_Handler();
  }
  sConfigOC.OCMode = TIM_OCMODE_PWM1;
  sConfigOC.Pulse = 0;
  sConfigOC.OCPolarity = TIM_OCPOLARITY_HIGH;
  sConfigOC.OCNPolarity = TIM_OCNPOLARITY_HIGH;
  sConfigOC.OCFastMode = TIM_OCFAST_DISABLE;
  sConfigOC.OCIdleState = TIM_OCIDLESTATE_RESET;
  sConfigOC.OCNIdleState = TIM_OCNIDLESTATE_RESET;
  if (HAL_TIM_PWM_ConfigChannel(&htim16, &sConfigOC, TIM_CHANNEL_1) != HAL_OK)
  {
    Error_Handler();
  }
  sBreakDeadTimeConfig.OffStateRunMode = TIM_OSSR_DISABLE;
  sBreakDeadTimeConfig.OffStateIDLEMode = TIM_OSSI_DISABLE;
  sBreakDeadTimeConfig.LockLevel = TIM_LOCKLEVEL_OFF;
  sBreakDeadTimeConfig.DeadTime = 0;
  sBreakDeadTimeConfig.BreakState = TIM_BREAK_DISABLE;
  sBreakDeadTimeConfig.BreakPolarity = TIM_BREAKPOLARITY_HIGH;
  sBreakDeadTimeConfig.AutomaticOutput = TIM_AUTOMATICOUTPUT_DISABLE;
  if (HAL_TIMEx_ConfigBreakDeadTime(&htim16, &sBreakDeadTimeConfig) != HAL_OK)
  {
    Error_Handler();
  }
  HAL_TIM_MspPostInit(&htim16);

}

static void MX_USART2_UART_Init(void)
{

  huart2.Instance = USART2;
  huart2.Init.BaudRate = 115200;
  huart2.Init.WordLength = UART_WORDLENGTH_8B;
  huart2.Init.StopBits = UART_STOPBITS_1;
  huart2.Init.Parity = UART_PARITY_NONE;
  huart2.Init.Mode = UART_MODE_TX_RX;
  huart2.Init.HwFlowCtl = UART_HWCONTROL_NONE;
  huart2.Init.OverSampling = UART_OVERSAMPLING_16;
  huart2.Init.OneBitSampling = UART_ONE_BIT_SAMPLE_DISABLE;
  huart2.AdvancedInit.AdvFeatureInit = UART_ADVFEATURE_NO_INIT;
  if (HAL_UART_Init(&huart2) != HAL_OK)
  {
    Error_Handler();
  }

}

static void MX_GPIO_Init(void)
{
  GPIO_InitTypeDef GPIO_InitStruct = {0};

  /* GPIO Ports Clock Enable */
  __HAL_RCC_GPIOC_CLK_ENABLE();
  __HAL_RCC_GPIOH_CLK_ENABLE();
  __HAL_RCC_GPIOA_CLK_ENABLE();
  __HAL_RCC_GPIOB_CLK_ENABLE();

  /*Configure GPIO pin Output Level */
  HAL_GPIO_WritePin(GPIOC, VERRIN_0_Pin|VERRIN_1_Pin|led_Pin|M2_EN_Pin, GPIO_PIN_RESET);

  /*Configure GPIO pin Output Level */
  HAL_GPIO_WritePin(GPIOB, M1_DIR_Pin|M1_EN_Pin|M2_DIR_Pin, GPIO_PIN_RESET);

  /*Configure GPIO pin Output Level */
  HAL_GPIO_WritePin(GPIOB, M2_STEP_Pin|M1_STEP_Pin, GPIO_PIN_SET);

  /*Configure GPIO pins : VERRIN_0_Pin VERRIN_1_Pin led_Pin M2_EN_Pin */
  GPIO_InitStruct.Pin = VERRIN_0_Pin|VERRIN_1_Pin|led_Pin|M2_EN_Pin;
  GPIO_InitStruct.Mode = GPIO_MODE_OUTPUT_PP;
  GPIO_InitStruct.Pull = GPIO_NOPULL;
  GPIO_InitStruct.Speed = GPIO_SPEED_FREQ_LOW;
  HAL_GPIO_Init(GPIOC, &GPIO_InitStruct);

  /*Configure GPIO pin : interrupteur_Pin */
  GPIO_InitStruct.Pin = interrupteur_Pin;
  GPIO_InitStruct.Mode = GPIO_MODE_INPUT;
  GPIO_InitStruct.Pull = GPIO_PULLUP;
  HAL_GPIO_Init(interrupteur_GPIO_Port, &GPIO_InitStruct);

  /*Configure GPIO pins : M1_DIR_Pin M1_EN_Pin M2_DIR_Pin */
  GPIO_InitStruct.Pin = M1_DIR_Pin|M1_EN_Pin|M2_DIR_Pin;
  GPIO_InitStruct.Mode = GPIO_MODE_OUTPUT_PP;
  GPIO_InitStruct.Pull = GPIO_NOPULL;
  GPIO_InitStruct.Speed = GPIO_SPEED_FREQ_LOW;
  HAL_GPIO_Init(GPIOB, &GPIO_InitStruct);

  /*Configure GPIO pins : M2_STEP_Pin M1_STEP_Pin */
  GPIO_InitStruct.Pin = M2_STEP_Pin|M1_STEP_Pin;
  GPIO_InitStruct.Mode = GPIO_MODE_OUTPUT_PP;
  GPIO_InitStruct.Pull = GPIO_NOPULL;
  GPIO_InitStruct.Speed = GPIO_SPEED_FREQ_VERY_HIGH;
  HAL_GPIO_Init(GPIOB, &GPIO_InitStruct);

}

/* USER CODE BEGIN 4 */
void HAL_TIM_PeriodElapsedCallback(TIM_HandleTypeDef *htim) {
  if (htim->Instance == TIM6) {
    Pince_UpdateSchedulerTick();
  }
}

/* USER CODE END 4 */

void Error_Handler(void)
{
  __disable_irq();
  while (1)
  {
  }
}
